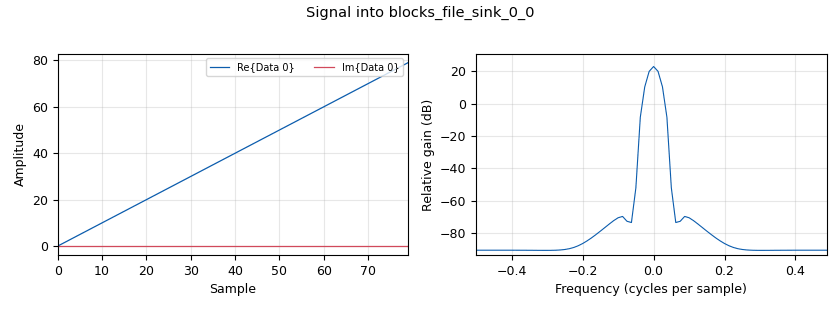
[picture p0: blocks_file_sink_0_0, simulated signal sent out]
options:
  parameters:
    author: grigosback
    generate_options: qt_gui
    id: randomsampler_test
    output_language: python
    title: randomsampler_test
  states: {}

blocks:
- name: samp_rate
  id: variable
  parameters:
    value: '32000'
  states: {}
- name: beamforming_randomsampler_py_cc_0
  id: beamforming_randomsampler_py_cc
  parameters:
    decimation: '2'
    vlen: '4'
  states: {}
- name: blocks_file_sink_0
  id: blocks_file_sink
  parameters:
    file: /mnt/d/Users/grigo/Google Drive/Facultad/Balseiro/PI Lucas/git-repository/digital-beamforming/gr-beamforming/examples/output.txt
    type: complex
    vlen: '4'
  states: {}
- name: blocks_file_sink_0_0
  id: blocks_file_sink
  parameters:
    file: /mnt/d/Users/grigo/Google Drive/Facultad/Balseiro/PI Lucas/git-repository/digital-beamforming/gr-beamforming/examples/in.txt
    type: complex
    vlen: '4'
  states: {}
- name: blocks_float_to_complex_0
  id: blocks_float_to_complex
  parameters: {}
  states: {}
- name: blocks_stream_to_vector_0
  id: blocks_stream_to_vector
  parameters:
    num_items: '4'
    type: complex
  states: {}
- name: blocks_throttle_0
  id: blocks_throttle
  parameters:
    samples_per_second: samp_rate
    type: float
  states: {}
- name: blocks_vector_source_x_0
  id: blocks_vector_source_x
  parameters:
    repeat: 'False'
    type: float
    vector: range(80)
  states: {}

connections:
- [beamforming_randomsampler_py_cc_0, '0', blocks_file_sink_0, '0']
- [blocks_float_to_complex_0, '0', blocks_stream_to_vector_0, '0']
- [blocks_stream_to_vector_0, '0', beamforming_randomsampler_py_cc_0, '0']
- [blocks_stream_to_vector_0, '0', blocks_file_sink_0_0, '0']
- [blocks_throttle_0, '0', blocks_float_to_complex_0, '0']
- [blocks_vector_source_x_0, '0', blocks_throttle_0, '0']

metadata:
  file_format: 1
